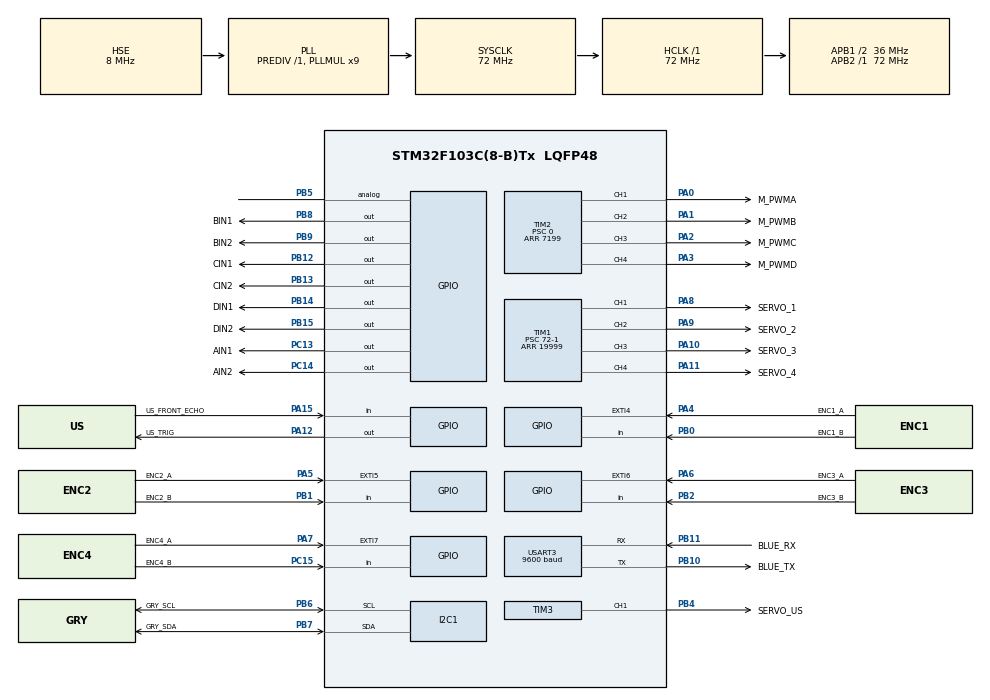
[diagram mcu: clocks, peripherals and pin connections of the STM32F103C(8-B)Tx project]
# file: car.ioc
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Dma.Request0=USART3_RX
Dma.Request1=USART3_TX
Dma.USART3_RX.0.Direction=DMA_PERIPH_TO_MEMORY
Dma.USART3_RX.0.Instance=DMA1_Channel3
Dma.USART3_RX.0.MemDataAlignment=DMA_MDATAALIGN_BYTE
Dma.USART3_RX.0.MemInc=DMA_MINC_ENABLE
Dma.USART3_RX.0.Mode=DMA_NORMAL
Dma.USART3_RX.0.PeriphDataAlignment=DMA_PDATAALIGN_BYTE
Dma.USART3_RX.0.PeriphInc=DMA_PINC_DISABLE
Dma.USART3_RX.0.Priority=DMA_PRIORITY_LOW
Dma.USART3_TX.1.Direction=DMA_MEMORY_TO_PERIPH
Dma.USART3_TX.1.Instance=DMA1_Channel2
Dma.USART3_TX.1.MemDataAlignment=DMA_MDATAALIGN_BYTE
Dma.USART3_TX.1.MemInc=DMA_MINC_ENABLE
Dma.USART3_TX.1.Mode=DMA_NORMAL
Dma.USART3_TX.1.PeriphDataAlignment=DMA_PDATAALIGN_BYTE
Dma.USART3_TX.1.PeriphInc=DMA_PINC_DISABLE
Dma.USART3_TX.1.Priority=DMA_PRIORITY_LOW
Mcu.Family=STM32F1
Mcu.Name=STM32F103C(8-B)Tx
Mcu.Package=LQFP48
NVIC.DMA1_Channel2_IRQn=true\:0\:0\:false\:false\:true\:false\:true\:true
NVIC.DMA1_Channel3_IRQn=true\:0\:0\:false\:false\:true\:false\:true\:true
NVIC.EXTI4_IRQn=true\:0\:0\:false\:false\:true\:true\:true\:true
NVIC.EXTI9_5_IRQn=true\:0\:0\:false\:false\:true\:true\:true\:true
NVIC.PriorityGroup=NVIC_PRIORITYGROUP_4
NVIC.USART3_IRQn=true\:0\:0\:false\:false\:true\:true\:true\:true
PA0-WKUP.GPIO_Label=M_PWMA
PA0-WKUP.Signal=S_TIM2_CH1_ETR
PA1.GPIO_Label=M_PWMB
PA1.Signal=S_TIM2_CH2
PA10.GPIO_Label=SERVO_3
PA10.Signal=S_TIM1_CH3
PA11.GPIO_Label=SERVO_4
PA11.Signal=S_TIM1_CH4
PA12.GPIO_Label=US_TRIG
PA12.Signal=GPIO_Output
PA13.Mode=Serial_Wire
PA13.Signal=SYS_JTMS-SWDIO
PA14.Mode=Serial_Wire
PA14.Signal=SYS_JTCK-SWCLK
PA15.GPIO_Label=US_FRONT_ECHO
PA15.Signal=GPIO_Input
PA2.GPIO_Label=M_PWMC
PA2.Signal=S_TIM2_CH3
PA3.GPIO_Label=M_PWMD
PA3.Signal=S_TIM2_CH4
PA4.GPIO_Label=ENC1_A
PA4.GPIO_ModeDefaultEXTI=GPIO_MODE_IT_RISING
PA4.Signal=GPXTI4
PA5.GPIO_Label=ENC2_A
PA5.Signal=GPXTI5
PA6.GPIO_Label=ENC3_A
PA6.Signal=GPXTI6
PA7.GPIO_Label=ENC4_A
PA7.Signal=GPXTI7
PA8.GPIO_Label=SERVO_1
PA8.Signal=S_TIM1_CH1
PA9.GPIO_Label=SERVO_2
PA9.Signal=S_TIM1_CH2
PB0.GPIO_Label=ENC1_B
PB0.Signal=GPIO_Input
PB1.GPIO_Label=ENC2_B
PB1.Signal=GPIO_Input
PB10.GPIO_Label=BLUE_TX
PB10.Mode=Asynchronous
PB10.Signal=USART3_TX
PB11.GPIO_Label=BLUE_RX
PB11.Mode=Asynchronous
PB11.Signal=USART3_RX
PB12.GPIO_Label=CIN1
PB12.Signal=GPIO_Output
PB13.GPIO_Label=CIN2
PB13.Signal=GPIO_Output
PB14.GPIO_Label=DIN1
PB14.Signal=GPIO_Output
PB15.GPIO_Label=DIN2
PB15.Signal=GPIO_Output
PB2.GPIO_Label=ENC3_B
PB2.Signal=GPIO_Input
PB4.GPIO_Label=SERVO_US
PB4.Signal=S_TIM3_CH1
PB5.Signal=GPIO_Analog
PB6.GPIO_Label=GRY_SCL
PB6.Mode=I2C
PB6.Signal=I2C1_SCL
PB7.GPIO_Label=GRY_SDA
PB7.Mode=I2C
PB7.Signal=I2C1_SDA
PB8.GPIO_Label=BIN1
PB8.Signal=GPIO_Output
PB9.GPIO_Label=BIN2
PB9.Signal=GPIO_Output
PC13-TAMPER-RTC.GPIO_Label=AIN1
PC13-TAMPER-RTC.Signal=GPIO_Output
PC14-OSC32_IN.GPIO_Label=AIN2
PC14-OSC32_IN.Signal=GPIO_Output
PC15-OSC32_OUT.GPIO_Label=ENC4_B
PC15-OSC32_OUT.Signal=GPIO_Input
PD0-OSC_IN.Mode=HSE-External-Oscillator
PD0-OSC_IN.Signal=RCC_OSC_IN
PD1-OSC_OUT.Mode=HSE-External-Oscillator
PD1-OSC_OUT.Signal=RCC_OSC_OUT
ProjectManager.HeapSize=0x200
ProjectManager.StackSize=0x400
ProjectManager.TargetToolchain=CMake
RCC.AHBFreq_Value=72000000
RCC.APB1CLKDivider=RCC_HCLK_DIV2
RCC.APB1Freq_Value=36000000
RCC.APB1TimFreq_Value=72000000
RCC.APB2Freq_Value=72000000
RCC.APB2TimFreq_Value=72000000
RCC.HCLKFreq_Value=72000000
RCC.PLLMUL=RCC_PLL_MUL9
RCC.PLLSourceVirtual=RCC_PLLSOURCE_HSE
RCC.SYSCLKFreq_VALUE=72000000
RCC.SYSCLKSource=RCC_SYSCLKSOURCE_PLLCLK
RCC.USBFreq_Value=72000000
SH.S_TIM1_CH1.0=TIM1_CH1,PWM Generation1 CH1
SH.S_TIM1_CH2.0=TIM1_CH2,PWM Generation2 CH2
SH.S_TIM1_CH3.0=TIM1_CH3,PWM Generation3 CH3
SH.S_TIM1_CH4.0=TIM1_CH4,PWM Generation4 CH4
SH.S_TIM2_CH1_ETR.0=TIM2_CH1,PWM Generation1 CH1
SH.S_TIM2_CH2.0=TIM2_CH2,PWM Generation2 CH2
SH.S_TIM2_CH3.0=TIM2_CH3,PWM Generation3 CH3
SH.S_TIM2_CH4.0=TIM2_CH4,PWM Generation4 CH4
SH.S_TIM3_CH1.0=TIM3_CH1,PWM Generation1 CH1
TIM1.Channel-PWM\ Generation1\ CH1=TIM_CHANNEL_1
TIM1.Channel-PWM\ Generation2\ CH2=TIM_CHANNEL_2
TIM1.Channel-PWM\ Generation3\ CH3=TIM_CHANNEL_3
TIM1.Channel-PWM\ Generation4\ CH4=TIM_CHANNEL_4
TIM1.ClockDivision=TIM_CLOCKDIVISION_DIV1
TIM1.Period=19999
TIM1.Prescaler=72-1
TIM1.Pulse-PWM\ Generation1\ CH1=1500
TIM1.Pulse-PWM\ Generation2\ CH2=1500
TIM1.Pulse-PWM\ Generation3\ CH3=1500
TIM1.Pulse-PWM\ Generation4\ CH4=1500
TIM2.Channel-PWM\ Generation1\ CH1=TIM_CHANNEL_1
TIM2.Channel-PWM\ Generation2\ CH2=TIM_CHANNEL_2
TIM2.Channel-PWM\ Generation3\ CH3=TIM_CHANNEL_3
TIM2.Channel-PWM\ Generation4\ CH4=TIM_CHANNEL_4
TIM2.Period=7199
TIM2.Prescaler=0
TIM2.Pulse-PWM\ Generation1\ CH1=0
TIM3.Channel-PWM\ Generation1\ CH1=TIM_CHANNEL_1
TIM3.Period=19999
TIM3.Prescaler=72-1
TIM3.Pulse-PWM\ Generation1\ CH1=1500
TIM4.Prescaler=72-1
USART3.BaudRate=9600
USART3.VirtualMode=VM_ASYNC
VP_TIM1_VS_ClockSourceINT.Mode=Internal
VP_TIM2_VS_ClockSourceINT.Mode=Internal
VP_TIM3_VS_ClockSourceINT.Mode=Internal
VP_TIM4_VS_ClockSourceINT.Mode=Internal
board=custom

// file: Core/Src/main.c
/* USER CODE BEGIN Header */
/**
 ******************************************************************************
 * @file           : main.c
 * @brief          : Main program body
 ******************************************************************************
 * @attention
 *
 * Copyright (c) 2026 STMicroelectronics.
 * All rights reserved.
 *
 * This software is licensed under terms that can be found in the LICENSE file
 * in the root directory of this software component.
 * If no LICENSE file comes with this software, it is provided AS-IS.
 *
 ******************************************************************************
 */
/* USER CODE END Header */
#include "main.h"
#include "dma.h"
#include "gpio.h"
#include "i2c.h"
#include "tim.h"
#include "usart.h"

/* USER CODE BEGIN Includes */
#include <bluetooth.h>
#include <control.h>
#include <mode.h>
#include <motor.h>
#include <mpu6050.h>
#include <pid.h>
#include <sensor.h>
#include <servo.h>
#include <string.h>

/* USER CODE END Includes */

void SystemClock_Config(void);

int main(void) {

  /* MCU Configuration--------------------------------------------------------*/

  /* Reset of all peripherals, Initializes the Flash interface and the Systick.
   */
  HAL_Init();

  /* Configure the system clock */
  SystemClock_Config();

  /* Initialize all configured peripherals */
  MX_GPIO_Init();
  MX_DMA_Init();
  MX_TIM2_Init();
  MX_TIM1_Init();
  MX_I2C1_Init();
  MX_USART3_UART_Init();
  MX_TIM3_Init();
  MX_TIM4_Init();
  /* USER CODE BEGIN 2 */
  Control_Init();
  Bluetooth_Init();
  Carmode_Init();
  Servo_Init();
  MPU6050_Init();
  MPU6050_Test();
  MPU6050_Calibrate();
  Encoder_Init();

  /* USER CODE END 2 */

  /* Infinite loop */
  /* USER CODE BEGIN WHILE */
  while (1) {

    Servo_Task();
    Bluetooth_Task();
    MPU6050_Update();
    Encoder_Task();

    if (carmode_Getmode() == mode_auto) {
      Control_AvoidanceTask();
    }

    HAL_Delay(5);

    /* USER CODE END WHILE */

  }
}

void SystemClock_Config(void) {
  RCC_OscInitTypeDef RCC_OscInitStruct = {0};
  RCC_ClkInitTypeDef RCC_ClkInitStruct = {0};

  /** Initializes the RCC Oscillators according to the specified parameters
   * in the RCC_OscInitTypeDef structure.
   */
  RCC_OscInitStruct.OscillatorType = RCC_OSCILLATORTYPE_HSE;
  RCC_OscInitStruct.HSEState = RCC_HSE_ON;
  RCC_OscInitStruct.HSEPredivValue = RCC_HSE_PREDIV_DIV1;
  RCC_OscInitStruct.HSIState = RCC_HSI_ON;
  RCC_OscInitStruct.PLL.PLLState = RCC_PLL_ON;
  RCC_OscInitStruct.PLL.PLLSource = RCC_PLLSOURCE_HSE;
  RCC_OscInitStruct.PLL.PLLMUL = RCC_PLL_MUL9;
  if (HAL_RCC_OscConfig(&RCC_OscInitStruct) != HAL_OK) {
    Error_Handler();
  }

  /** Initializes the CPU, AHB and APB buses clocks
   */
  RCC_ClkInitStruct.ClockType = RCC_CLOCKTYPE_HCLK | RCC_CLOCKTYPE_SYSCLK |
                                RCC_CLOCKTYPE_PCLK1 | RCC_CLOCKTYPE_PCLK2;
  RCC_ClkInitStruct.SYSCLKSource = RCC_SYSCLKSOURCE_PLLCLK;
  RCC_ClkInitStruct.AHBCLKDivider = RCC_SYSCLK_DIV1;
  RCC_ClkInitStruct.APB1CLKDivider = RCC_HCLK_DIV2;
  RCC_ClkInitStruct.APB2CLKDivider = RCC_HCLK_DIV1;

  if (HAL_RCC_ClockConfig(&RCC_ClkInitStruct, FLASH_LATENCY_2) != HAL_OK) {
    Error_Handler();
  }
}

void Error_Handler(void) {
  /* USER CODE BEGIN Error_Handler_Debug */
  /* User can add your own implementation to report the HAL error return state
   */
  __disable_irq();

  while (1) {
  }

  /* USER CODE END Error_Handler_Debug */
}
#ifdef USE_FULL_ASSERT
/**
 * @brief  Reports the name of the source file and the source line number
 *         where the assert_param error has occurred.
 * @param  file: pointer to the source file name
 * @param  line: assert_param error line source number
 * @retval None
 */
void assert_failed(uint8_t *file, uint32_t line) {
  /* USER CODE BEGIN 6 */
  /* User can add his own implementation to report the file name and the line
     number, ex: printf("Wrong parameters value: file %s on line %d\r\n",
     file, line) */
  /* USER CODE END 6 */
}
#endif /* USE_FULL_ASSERT */
